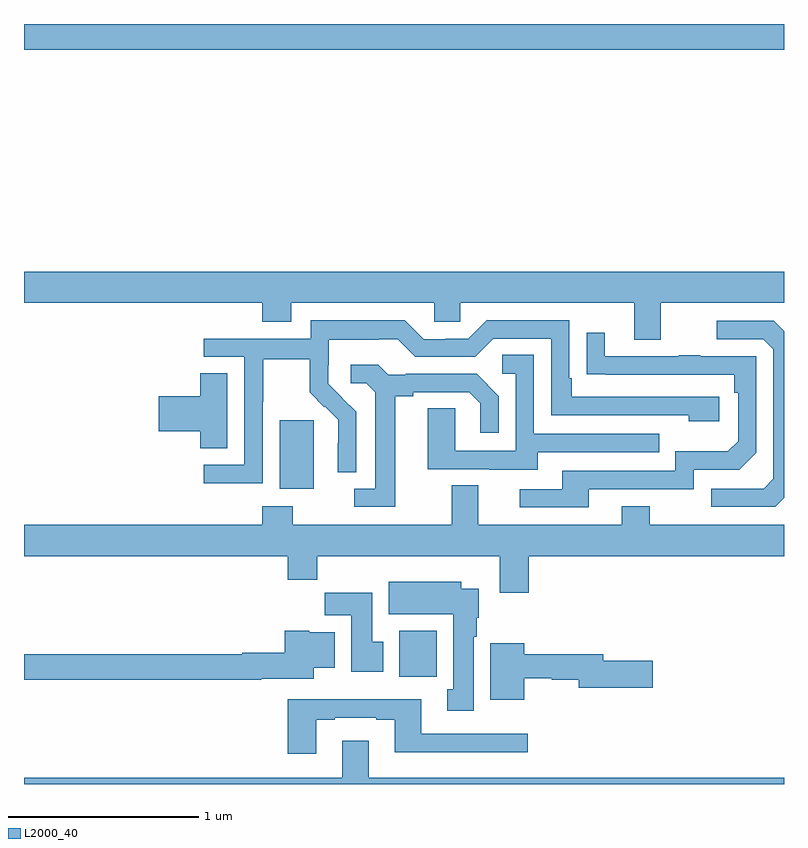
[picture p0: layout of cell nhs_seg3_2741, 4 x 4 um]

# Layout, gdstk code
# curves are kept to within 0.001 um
import gdstk
lib = gdstk.Library(unit=1e-6, precision=1e-09)
def R(c, l, rs):  # rectangles x0, y0, x1, y1
    for r in rs: c.add(gdstk.rectangle(r[:2], r[2:], *l))
def P(c, l, *ps):  # polygons
    for p in ps: c.add(gdstk.Polygon(p, *l))
L2000_40 = (2000, 40)

nhs_seg3_2741 = lib.new_cell('nhs_seg3_2741')
R(nhs_seg3_2741, L2000_40, [(254.975,682.964,255.172,683.206), (254.345,683.954,254.524,684.315), (253,686.264,257,686.4)])
P(nhs_seg3_2741, L2000_40, [(256.351,684.932),(257,684.932),(257,685.096),(253,685.096),(253,684.932),(254.255,684.932),(254.255,684.833),(254.407,684.833),(254.407,684.932),(255.159,684.932),(255.159,684.834),(255.297,684.834),(255.297,684.932),(256.211,684.932),(256.211,684.738),(256.351,684.738)],
  [(254.256,684.412),(254.259,684.412),(254.259,684.636),(254.503,684.636),(254.503,684.461),(254.58,684.384),(254.583,684.387),(254.654,684.317),(254.654,684.194),(254.652,684.194),(254.652,684.04),(254.748,684.04),(254.748,684.358),(254.602,684.506),(254.602,684.603),(254.604,684.603),(254.604,684.737),(254.867,684.737),(254.867,684.741),(254.967,684.741),(255.06,684.648),(255.375,684.648),(255.471,684.744),(255.774,684.744),(255.774,684.342),(256.499,684.342),(256.499,684.308),(256.66,684.308),(256.66,684.438),(255.883,684.438),(255.883,684.535),(255.87,684.535),(255.87,684.84),(255.435,684.84),(255.339,684.744),(255.221,684.744),(255.221,684.741),(255.105,684.741),(255.005,684.841),(254.508,684.841),(254.508,684.744),(253.947,684.744),(253.947,684.648),(254.16,684.648),(254.16,684.081),(253.947,684.081),(253.947,683.983),(254.256,683.983)],
  [(257,683.906),(257,684.784),(256.947,684.837),(256.647,684.837),(256.647,684.741),(256.89,684.741),(256.944,684.687),(256.944,684.006),(256.893,683.955),(256.617,683.955),(256.617,683.859),(256.953,683.859)],
  [(255.973,683.952),(256.524,683.952),(256.524,684.054),(256.764,684.054),(256.854,684.144),(256.854,684.651),(256.559,684.651),(256.559,684.656),(256.447,684.656),(256.447,684.651),(256.057,684.651),(256.057,684.775),(255.961,684.775),(255.961,684.556),(256.738,684.555),(256.738,684.458),(256.758,684.458),(256.758,684.204),(256.705,684.151),(256.428,684.151),(256.428,684.048),(255.833,684.048),(255.833,683.952),(255.609,683.952),(255.609,683.856),(255.973,683.856)],
  [(255.703,684.147),(256.343,684.147),(256.343,684.243),(255.684,684.243),(255.684,684.659),(255.516,684.659),(255.516,684.558),(255.588,684.558),(255.588,684.153),(255.27,684.153),(255.27,684.377),(255.125,684.377),(255.125,684.057),(255.449,684.057),(255.449,684.053),(255.703,684.053)],
  [(254.953,684.44),(255.049,684.44),(255.049,684.462),(255.344,684.462),(255.401,684.405),(255.401,684.249),(255.498,684.249),(255.498,684.442),(255.382,684.558),(255.01,684.558),(255.01,684.555),(254.916,684.555),(254.864,684.607),(254.721,684.607),(254.721,684.51),(254.802,684.51),(254.849,684.463),(254.849,683.955),(254.739,683.955),(254.739,683.859),(254.953,683.859)],
  [(254.071,684.563),(253.928,684.563),(253.928,684.44),(253.71,684.44),(253.71,684.257),(253.928,684.257),(253.928,684.166),(254.071,684.166)],
  [(255.656,683.6),(257,683.6),(257,683.764),(256.293,683.764),(256.293,683.863),(256.145,683.863),(256.145,683.764),(255.391,683.764),(255.391,683.972),(255.251,683.972),(255.251,683.764),(254.415,683.764),(254.415,683.863),(254.255,683.863),(254.255,683.764),(253,683.764),(253,683.6),(254.387,683.6),(254.387,683.476),(254.543,683.476),(254.543,683.6),(255.503,683.6),(255.503,683.406),(255.656,683.406)],
  [(255.367,683.174),(255.382,683.174),(255.382,683.274),(255.394,683.274),(255.394,683.428),(255.301,683.428),(255.301,683.464),(254.921,683.464),(254.921,683.294),(255.26,683.294),(255.26,682.898),(255.227,682.898),(255.227,682.785),(255.367,682.785)],
  [(254.89,683.148),(254.833,683.148),(254.833,683.406),(254.584,683.406),(254.584,683.288),(254.723,683.288),(254.723,682.992),(254.89,682.992)],
  [(254.248,682.955),(254.524,682.955),(254.524,683.012),(254.635,683.012),(254.635,683.2),(254.502,683.2),(254.502,683.206),(254.372,683.206),(254.372,683.092),(254.148,683.092),(254.148,683.084),(253,683.084),(253,682.948),(254.248,682.948)],
  [(255.634,682.956),(255.777,682.956),(255.777,682.948),(255.92,682.948),(255.92,682.906),(256.309,682.906),(256.309,683.048),(256.048,683.048),(256.048,683.084),(255.634,683.084),(255.634,683.14),(255.455,683.14),(255.455,682.844),(255.634,682.844)],
  [(254.539,682.737),(254.635,682.737),(254.635,682.749),(254.855,682.749),(254.855,682.737),(254.951,682.737),(254.951,682.568),(255.652,682.568),(255.652,682.665),(255.091,682.665),(255.091,682.846),(254.387,682.846),(254.387,682.56),(254.539,682.56)],
  [(257,682.432),(254.815,682.432),(254.815,682.627),(254.675,682.627),(254.675,682.432),(253,682.432),(253,682.4),(257,682.4)])

lib.write_gds('nhs_seg3_2741.gds')
